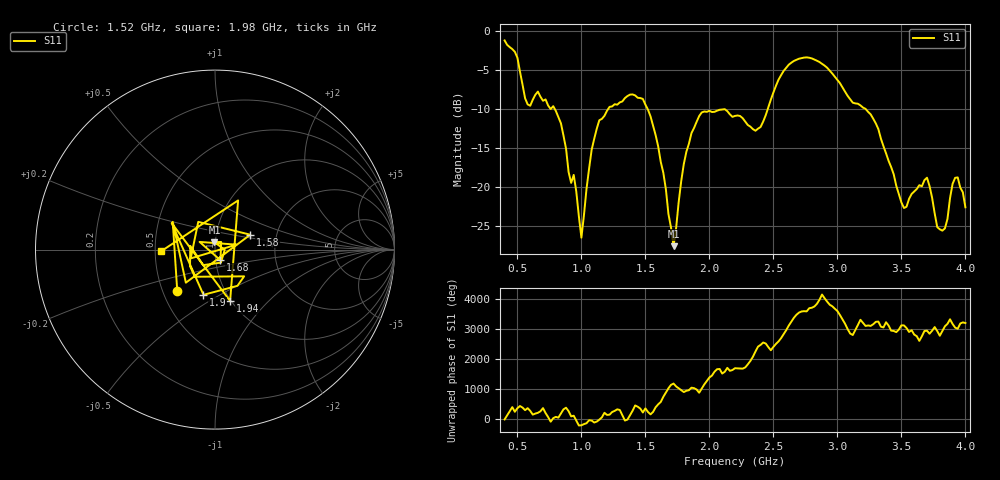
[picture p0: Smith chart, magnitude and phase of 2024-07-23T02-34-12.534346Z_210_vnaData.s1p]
!Created with skrf (http://scikit-rf.org).
# Hz S RI R 50.0
!freq ReS11 ImS11
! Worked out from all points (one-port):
!   181 points, 400 MHz to 4 GHz, reference 50 ohm
!   lowest |S11| = -27.6 dB at 1.72 GHz (marker M1), VSWR 1.09, Z = 49.5 + j4.11 ohm
!   |S11| at or under -10 dB: 790.1 MHz to 1.211 GHz (421.2 MHz wide, 42.1 % of centre); 1.516 GHz to 2.457 GHz (941.2 MHz wide, 47.4 % of centre); 3.215 GHz to end of sweep (the widest 3 of 4)
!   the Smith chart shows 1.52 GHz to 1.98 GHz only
!   S11 on the Smith chart (normalised r, x): 1.52 GHz: 0.60, -0.30; 1.58 GHz: 1.46, +0.25; 1.68 GHz: 1.06, -0.13; 1.9 GHz: 0.78, -0.42; 1.94 GHz: 0.99, -0.62; 1.98 GHz: 0.54, -0.01
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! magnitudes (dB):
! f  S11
! 400 MHz  -1.3
! 500 MHz  -3.5
! 580 MHz  -9.5
! 660 MHz  -7.8
! 860 MHz  -13.5
! 940 MHz  -18.5
! 1 GHz  -26.5
! 1.12 GHz  -12.6
! 1.3 GHz  -9.2
! 1.52 GHz  -10.1
! 1.58 GHz  -13.4
! 1.68 GHz  -23.5
! 1.72 GHz  -27.6
! 1.76 GHz  -22.0
! 1.9 GHz  -11.7
! 1.94 GHz  -10.5
! 1.98 GHz  -10.4
! 2.2 GHz  -10.9
! 2.4 GHz  -12.4
! 2.66 GHz  -3.9
! 3.1 GHz  -8.8
! 3.26 GHz  -10.7
! 3.5 GHz  -22.0
! 3.56 GHz  -21.6
! 3.7 GHz  -18.9
! 3.82 GHz  -25.6
! 3.94 GHz  -18.8
! 4 GHz  -22.7
